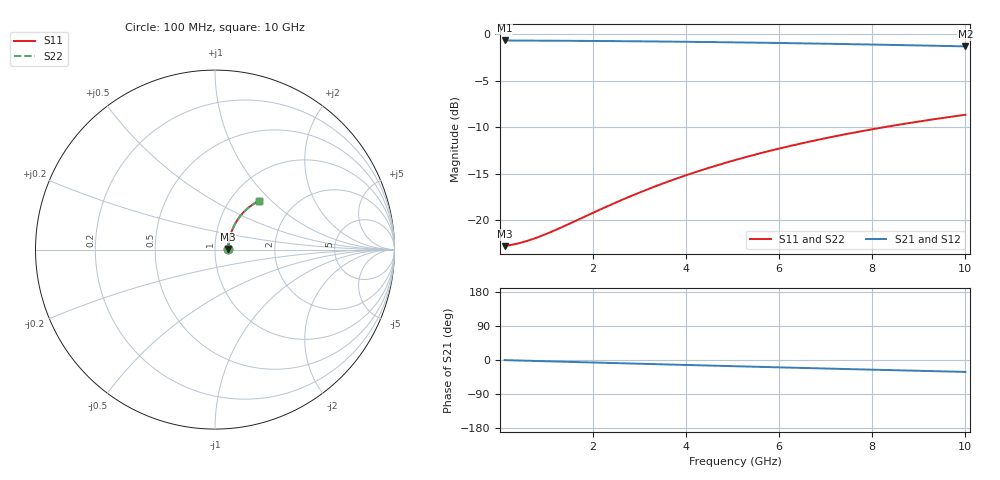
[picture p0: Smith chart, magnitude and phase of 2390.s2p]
# Hz S RI R 50.00
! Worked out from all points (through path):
!   100 points, 100 MHz to 10 GHz, reference 50 ohm
!   highest |S21| = -0.65 dB at 100 MHz (marker M1); lowest = -1.3 dB at 10 GHz (marker M2)
!   group delay of S21, straight-line fit = 8.75 ps
!   lowest |S11| = -22.8 dB at 100 MHz (marker M3), VSWR 1.16, Z = 57.8 + j0.418 ohm
!   |S11| at or under -10 dB: start of sweep to 8.258 GHz
!   |S22| runs from -22.8 to -8.7 dB; largest |S21 - S12| = 0
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1e8  0.0721 0.0036  0.9279 -0.00535  0.9279 -0.00535  0.0721 0.0036
3e8  0.073 0.0108  0.9269 -0.016  0.9269 -0.016  0.073 0.0108
5e8  0.0738 0.0179  0.9261 -0.0267  0.9261 -0.0267  0.0738 0.0179
8e8  0.0752 0.0286  0.9247 -0.0426  0.9247 -0.0426  0.0752 0.0286
1e9  0.0762 0.0357  0.9236 -0.0532  0.9236 -0.0532  0.0762 0.0357
1.2e9  0.0773 0.0428  0.9224 -0.0638  0.9224 -0.0638  0.0773 0.0428
1.8e9  0.0816 0.0637  0.9179 -0.0952  0.9179 -0.0952  0.0816 0.0637
2.2e9  0.0852 0.0775  0.914 -0.116  0.914 -0.116  0.0852 0.0775
2.6e9  0.0893 0.0911  0.9096 -0.1365  0.9096 -0.1365  0.0893 0.0911
3e9  0.094 0.1044  0.9045 -0.1568  0.9045 -0.1568  0.094 0.1044
3.4e9  0.0993 0.1174  0.8988 -0.1769  0.8988 -0.1769  0.0993 0.1174
3.8e9  0.1052 0.1301  0.8925 -0.1966  0.8925 -0.1966  0.1052 0.1301
4.2e9  0.1115 0.1425  0.8856 -0.216  0.8856 -0.216  0.1115 0.1425
4.6e9  0.1184 0.1545  0.8782 -0.2351  0.8782 -0.2351  0.1184 0.1545
5.1e9  0.1277 0.169  0.8681 -0.2584  0.8681 -0.2584  0.1277 0.169
5.5e9  0.1356 0.1802  0.8595 -0.2766  0.8595 -0.2766  0.1356 0.1802
5.9e9  0.144 0.1909  0.8504 -0.2943  0.8504 -0.2943  0.144 0.1909
6.7e9  0.1619 0.2109  0.8309 -0.3285  0.8309 -0.3285  0.1619 0.2109
7.5e9  0.1812 0.2291  0.8097 -0.3608  0.8097 -0.3608  0.1812 0.2291
8.4e9  0.2043 0.2472  0.7843 -0.3949  0.7843 -0.3949  0.2043 0.2472
9.2e9  0.2257 0.2611  0.7605 -0.4231  0.7605 -0.4231  0.2257 0.2611
1e10  0.2479 0.273  0.7358 -0.4493  0.7358 -0.4493  0.2479 0.273
